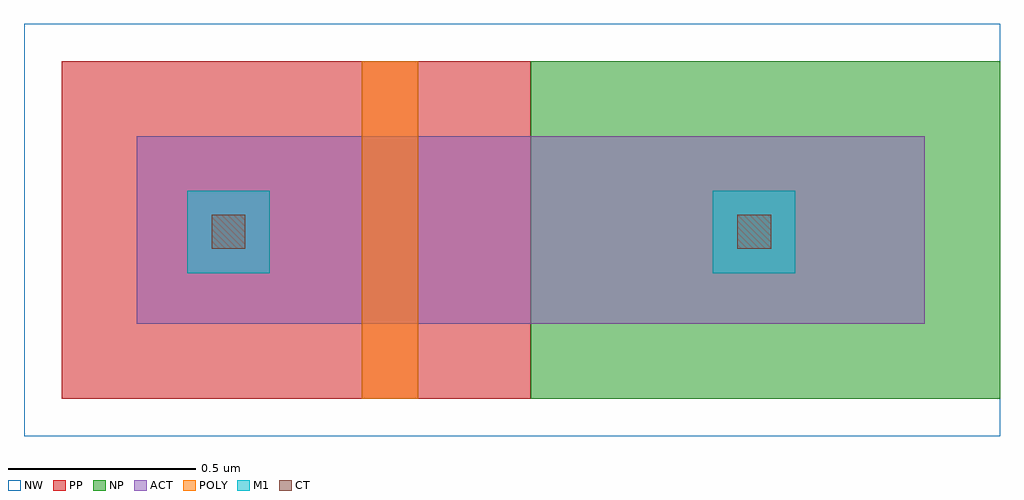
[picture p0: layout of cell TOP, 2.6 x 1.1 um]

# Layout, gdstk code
import gdstk
lib = gdstk.Library(unit=1e-6, precision=1e-09)
def R(c, l, rs):  # rectangles x0, y0, x1, y1
    for r in rs: c.add(gdstk.rectangle(r[:2], r[2:], *l))
ACT = (2, 1)
NW = (9, 1)
POLY = (41, 1)
NP = (52, 1)
PP = (53, 1)
CT = (72, 1)
M1 = (81, 1)

top = lib.new_cell('TOP')
R(top, ACT, [(0,0,2.1,0.5)])
R(top, NW, [(-0.3,-0.3,2.3,0.8)])
R(top, POLY, [(0.6,-0.2,0.75,0.7)])
R(top, NP, [(1.05,-0.2,2.3,0.7)])
R(top, PP, [(-0.2,-0.2,1.05,0.7)])
R(top, CT, [(0.2,0.2,0.29,0.29), (1.6,0.2,1.69,0.29)])
R(top, M1, [(0.135,0.135,0.355,0.355), (1.535,0.135,1.755,0.355)])

lib.write_gds('TOP.gds')
